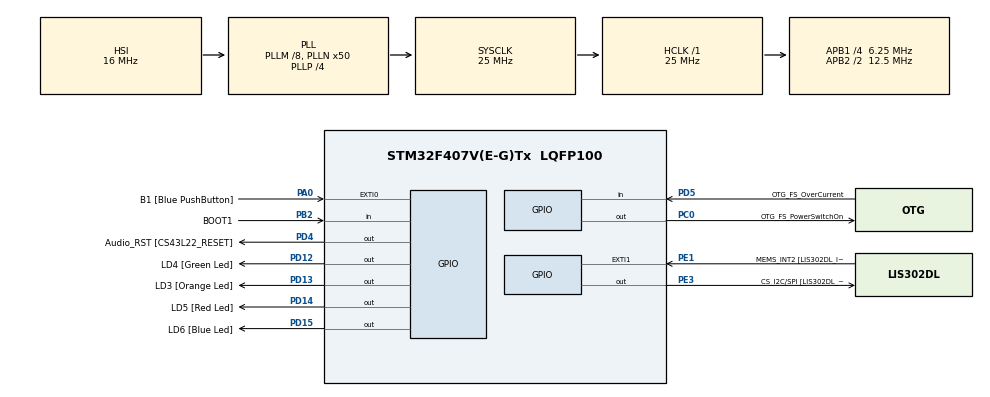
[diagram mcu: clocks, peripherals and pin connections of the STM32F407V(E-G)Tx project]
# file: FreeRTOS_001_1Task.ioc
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Mcu.Family=STM32F4
Mcu.Name=STM32F407V(E-G)Tx
Mcu.Package=LQFP100
NVIC.PriorityGroup=NVIC_PRIORITYGROUP_4
NVIC.TIM6_DAC_IRQn=true\:0\:0\:false\:false\:true\:false\:true\:true
NVIC.TimeBase=TIM6_DAC_IRQn
NVIC.TimeBaseIP=TIM6
PA0-WKUP.GPIO_Label=B1 [Blue PushButton]
PA0-WKUP.Signal=GPXTI0
PA10.GPIO_Label=OTG_FS_ID
PA10.GPIO_Mode=GPIO_MODE_AF_PP
PA10.GPIO_PuPd=GPIO_NOPULL
PA10.GPIO_Speed=GPIO_SPEED_FREQ_LOW
PA10.Signal=USB_OTG_FS_ID
PA11.GPIO_Label=OTG_FS_DM
PA11.GPIO_Mode=GPIO_MODE_AF_PP
PA11.GPIO_PuPd=GPIO_NOPULL
PA11.GPIO_Speed=GPIO_SPEED_FREQ_LOW
PA11.Signal=USB_OTG_FS_DM
PA12.GPIO_Label=OTG_FS_DP
PA12.GPIO_Mode=GPIO_MODE_AF_PP
PA12.GPIO_PuPd=GPIO_NOPULL
PA12.GPIO_Speed=GPIO_SPEED_FREQ_LOW
PA12.Signal=USB_OTG_FS_DP
PA13.GPIO_Label=SWDIO
PA13.Signal=SYS_JTMS-SWDIO
PA14.GPIO_Label=SWCLK
PA14.Signal=SYS_JTCK-SWCLK
PA4.GPIO_Label=I2S3_WS [CS43L22_LRCK]
PA4.GPIO_Mode=GPIO_MODE_AF_PP
PA4.GPIO_PuPd=GPIO_NOPULL
PA4.GPIO_Speed=GPIO_SPEED_FREQ_LOW
PA4.Signal=I2S3_WS
PA5.GPIO_Label=SPI1_SCK [LIS302DL_SCL/SPC]
PA5.GPIO_Mode=GPIO_MODE_AF_PP
PA5.GPIO_PuPd=GPIO_NOPULL
PA5.GPIO_Speed=GPIO_SPEED_FREQ_LOW
PA5.Signal=SPI1_SCK
PA6.GPIO_Label=SPI1_MISO [LIS302DL_SDO]
PA6.GPIO_Mode=GPIO_MODE_AF_PP
PA6.GPIO_PuPd=GPIO_NOPULL
PA6.GPIO_Speed=GPIO_SPEED_FREQ_LOW
PA6.Signal=SPI1_MISO
PA7.GPIO_Label=SPI1_MOSI [LIS302DL_SDA/SDI/SDO]
PA7.GPIO_Mode=GPIO_MODE_AF_PP
PA7.GPIO_PuPd=GPIO_NOPULL
PA7.GPIO_Speed=GPIO_SPEED_FREQ_LOW
PA7.Signal=SPI1_MOSI
PA9.GPIO_Label=VBUS_FS
PA9.GPIO_Mode=GPIO_MODE_INPUT
PA9.GPIO_PuPd=GPIO_NOPULL
PA9.Signal=USB_OTG_FS_VBUS
PB10.GPIO_Label=CLK_IN [MP45DT02_CLK]
PB10.GPIO_Mode=GPIO_MODE_AF_PP
PB10.GPIO_PuPd=GPIO_NOPULL
PB10.GPIO_Speed=GPIO_SPEED_FREQ_LOW
PB10.Signal=I2S2_CK
PB2.GPIO_Label=BOOT1
PB2.GPIO_Mode=GPIO_MODE_INPUT
PB2.GPIO_PuPd=GPIO_NOPULL
PB2.Signal=GPIO_Input
PB3.GPIO_Label=SWO
PB3.Signal=SYS_JTDO-SWO
PB6.GPIO_Label=Audio_SCL [CS43L22_SCL]
PB6.GPIO_Mode=GPIO_MODE_AF_OD
PB6.GPIO_PuPd=GPIO_NOPULL
PB6.GPIO_Speed=GPIO_SPEED_FREQ_LOW
PB6.Signal=I2C1_SCL
PB9.GPIO_Label=Audio_SDA [CS43L22_SDA]
PB9.GPIO_Mode=GPIO_MODE_AF_OD
PB9.GPIO_PuPd=GPIO_NOPULL
PB9.GPIO_Speed=GPIO_SPEED_FREQ_LOW
PB9.Signal=I2C1_SDA
PC0.GPIO_Label=OTG_FS_PowerSwitchOn
PC0.GPIO_PuPd=GPIO_NOPULL
PC0.GPIO_Speed=GPIO_SPEED_FREQ_LOW
PC0.PinState=GPIO_PIN_SET
PC0.Signal=GPIO_Output
PC10.GPIO_Label=I2S3_SCK [CS43L22_SCLK]
PC10.GPIO_Mode=GPIO_MODE_AF_PP
PC10.GPIO_PuPd=GPIO_NOPULL
PC10.GPIO_Speed=GPIO_SPEED_FREQ_LOW
PC10.Signal=I2S3_CK
PC12.GPIO_Label=I2S3_SD [CS43L22_SDIN]
PC12.GPIO_Mode=GPIO_MODE_AF_PP
PC12.GPIO_PuPd=GPIO_NOPULL
PC12.GPIO_Speed=GPIO_SPEED_FREQ_LOW
PC12.Signal=I2S3_SD
PC14-OSC32_IN.GPIO_Label=PC14-OSC32_IN
PC14-OSC32_IN.Signal=RCC_OSC32_IN
PC15-OSC32_OUT.GPIO_Label=PC15-OSC32_OUT
PC15-OSC32_OUT.Signal=RCC_OSC32_OUT
PC3.GPIO_Label=PDM_OUT [MP45DT02_DOUT]
PC3.GPIO_Mode=GPIO_MODE_AF_PP
PC3.GPIO_PuPd=GPIO_NOPULL
PC3.GPIO_Speed=GPIO_SPEED_FREQ_LOW
PC3.Signal=I2S2_SD
PC7.GPIO_Label=I2S3_MCK [CS43L22_MCLK]
PC7.GPIO_Mode=GPIO_MODE_AF_PP
PC7.GPIO_PuPd=GPIO_NOPULL
PC7.GPIO_Speed=GPIO_SPEED_FREQ_LOW
PC7.Signal=I2S3_MCK
PD12.GPIO_Label=LD4 [Green Led]
PD12.GPIO_PuPd=GPIO_NOPULL
PD12.GPIO_Speed=GPIO_SPEED_FREQ_LOW
PD12.Signal=GPIO_Output
PD13.GPIO_Label=LD3 [Orange Led]
PD13.GPIO_PuPd=GPIO_NOPULL
PD13.GPIO_Speed=GPIO_SPEED_FREQ_LOW
PD13.Signal=GPIO_Output
PD14.GPIO_Label=LD5 [Red Led]
PD14.GPIO_PuPd=GPIO_NOPULL
PD14.GPIO_Speed=GPIO_SPEED_FREQ_LOW
PD14.Signal=GPIO_Output
PD15.GPIO_Label=LD6 [Blue Led]
PD15.GPIO_PuPd=GPIO_NOPULL
PD15.GPIO_Speed=GPIO_SPEED_FREQ_LOW
PD15.Signal=GPIO_Output
PD4.GPIO_Label=Audio_RST [CS43L22_RESET]
PD4.GPIO_PuPd=GPIO_NOPULL
PD4.GPIO_Speed=GPIO_SPEED_FREQ_LOW
PD4.Signal=GPIO_Output
PD5.GPIO_Label=OTG_FS_OverCurrent
PD5.GPIO_Mode=GPIO_MODE_INPUT
PD5.GPIO_PuPd=GPIO_NOPULL
PD5.Signal=GPIO_Input
PE1.GPIO_Label=MEMS_INT2 [LIS302DL_INT2]
PE1.GPIO_ModeDefaultEXTI=GPIO_MODE_EVT_RISING
PE1.GPIO_PuPd=GPIO_NOPULL
PE1.Signal=GPXTI1
PE3.GPIO_Label=CS_I2C/SPI [LIS302DL_CS_I2C/SPI]
PE3.GPIO_PuPd=GPIO_NOPULL
PE3.GPIO_Speed=GPIO_SPEED_FREQ_LOW
PE3.Signal=GPIO_Output
PH0-OSC_IN.GPIO_Label=PH0-OSC_IN
PH0-OSC_IN.Signal=RCC_OSC_IN
PH1-OSC_OUT.GPIO_Label=PH1-OSC_OUT
PH1-OSC_OUT.Signal=RCC_OSC_OUT
ProjectManager.HeapSize=0x200
ProjectManager.StackSize=0x400
ProjectManager.TargetToolchain=STM32CubeIDE
RCC.48MHZClocksFreq_Value=14285714.285714285
RCC.AHBFreq_Value=25000000
RCC.APB1CLKDivider=RCC_HCLK_DIV4
RCC.APB1Freq_Value=6250000
RCC.APB1TimFreq_Value=12500000
RCC.APB2CLKDivider=RCC_HCLK_DIV2
RCC.APB2Freq_Value=12500000
RCC.APB2TimFreq_Value=25000000
RCC.CortexFreq_Value=25000000
RCC.HCLKFreq_Value=25000000
RCC.HSE_VALUE=8000000
RCC.HSI_VALUE=16000000
RCC.LSE_VALUE=32768
RCC.PLLM=8
RCC.PLLN=50
RCC.PLLP=RCC_PLLP_DIV4
RCC.PLLQ=7
RCC.SYSCLKFreq_VALUE=25000000
RCC.SYSCLKSource=RCC_SYSCLKSOURCE_PLLCLK
RCC.VCOOutputFreq_Value=100000000
VP_SYS_VS_tim6.Mode=TIM6
board=STM32F407G-DISC1

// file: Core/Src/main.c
/* USER CODE BEGIN Header */
/**
  ******************************************************************************
  * @file           : main.c
  * @brief          : Main program body
  ******************************************************************************
  * @attention
  *
  * Copyright (c) 2025 STMicroelectronics.
  * All rights reserved.
  *
  * This software is licensed under terms that can be found in the LICENSE file
  * in the root directory of this software component.
  * If no LICENSE file comes with this software, it is provided AS-IS.
  *
  ******************************************************************************
  */
/* USER CODE END Header */
#include "main.h"

/* USER CODE BEGIN Includes */
#include <stdio.h>
#include "FreeRTOS.h"
#include "task.h"
/* USER CODE END Includes */

/* USER CODE BEGIN PM */
#define DWT_CTRL	(*(volatile uint32_t*)0xE0001000)
/* USER CODE END PM */

void SystemClock_Config(void);
static void MX_GPIO_Init(void);
/* USER CODE BEGIN PFP */
static void task1_handler(void* parameters);
static void task2_handler(void* parameters);
/* USER CODE END PFP */

int main(void)
{

  /* USER CODE BEGIN 1 */
	TaskHandle_t task1_handle;
	TaskHandle_t task2_handle;

	BaseType_t taskCreateStatus;

  /* USER CODE END 1 */

  /* MCU Configuration--------------------------------------------------------*/

  /* Reset of all peripherals, Initializes the Flash interface and the Systick. */
  HAL_Init();

  /* Configure the system clock */
  SystemClock_Config();

  /* Initialize all configured peripherals */
  MX_GPIO_Init();
  /* USER CODE BEGIN 2 */

  //Enable the CYCCNT required by SysView
  DWT_CTRL |= (1<<0);

  //SysView configure and start
  SEGGER_SYSVIEW_Conf();
  SEGGER_SYSVIEW_Start();

  //Create tasks
  	taskCreateStatus = xTaskCreate(task1_handler, "Task-1", 200, "Hello world from task 1", 2, &task1_handle);
	configASSERT(taskCreateStatus == pdPASS);

	taskCreateStatus = xTaskCreate(task2_handler, "Task-2", 200, "Hello world from task 2", 2, &task2_handle);
	configASSERT(taskCreateStatus == pdPASS);

  //Schedule tasks
	vTaskStartScheduler();

  /* USER CODE END 2 */

  /* Infinite loop */
  while (1)
  {

  }
}

void SystemClock_Config(void)
{
  RCC_OscInitTypeDef RCC_OscInitStruct = {0};
  RCC_ClkInitTypeDef RCC_ClkInitStruct = {0};

  /** Configure the main internal regulator output voltage
  */
  __HAL_RCC_PWR_CLK_ENABLE();
  __HAL_PWR_VOLTAGESCALING_CONFIG(PWR_REGULATOR_VOLTAGE_SCALE1);

  /** Initializes the RCC Oscillators according to the specified parameters
  * in the RCC_OscInitTypeDef structure.
  */
  RCC_OscInitStruct.OscillatorType = RCC_OSCILLATORTYPE_HSI;
  RCC_OscInitStruct.HSIState = RCC_HSI_ON;
  RCC_OscInitStruct.HSICalibrationValue = RCC_HSICALIBRATION_DEFAULT;
  RCC_OscInitStruct.PLL.PLLState = RCC_PLL_ON;
  RCC_OscInitStruct.PLL.PLLSource = RCC_PLLSOURCE_HSI;
  RCC_OscInitStruct.PLL.PLLM = 8;
  RCC_OscInitStruct.PLL.PLLN = 50;
  RCC_OscInitStruct.PLL.PLLP = RCC_PLLP_DIV4;
  RCC_OscInitStruct.PLL.PLLQ = 7;
  if (HAL_RCC_OscConfig(&RCC_OscInitStruct) != HAL_OK)
  {
    Error_Handler();
  }

  /** Initializes the CPU, AHB and APB buses clocks
  */
  RCC_ClkInitStruct.ClockType = RCC_CLOCKTYPE_HCLK|RCC_CLOCKTYPE_SYSCLK
                              |RCC_CLOCKTYPE_PCLK1|RCC_CLOCKTYPE_PCLK2;
  RCC_ClkInitStruct.SYSCLKSource = RCC_SYSCLKSOURCE_PLLCLK;
  RCC_ClkInitStruct.AHBCLKDivider = RCC_SYSCLK_DIV1;
  RCC_ClkInitStruct.APB1CLKDivider = RCC_HCLK_DIV4;
  RCC_ClkInitStruct.APB2CLKDivider = RCC_HCLK_DIV2;

  if (HAL_RCC_ClockConfig(&RCC_ClkInitStruct, FLASH_LATENCY_0) != HAL_OK)
  {
    Error_Handler();
  }
}

static void MX_GPIO_Init(void)
{
  GPIO_InitTypeDef GPIO_InitStruct = {0};

  /* GPIO Ports Clock Enable */
  __HAL_RCC_GPIOE_CLK_ENABLE();
  __HAL_RCC_GPIOC_CLK_ENABLE();
  __HAL_RCC_GPIOH_CLK_ENABLE();
  __HAL_RCC_GPIOA_CLK_ENABLE();
  __HAL_RCC_GPIOB_CLK_ENABLE();
  __HAL_RCC_GPIOD_CLK_ENABLE();

  /*Configure GPIO pin Output Level */
  HAL_GPIO_WritePin(CS_I2C_SPI_GPIO_Port, CS_I2C_SPI_Pin, GPIO_PIN_RESET);

  /*Configure GPIO pin Output Level */
  HAL_GPIO_WritePin(OTG_FS_PowerSwitchOn_GPIO_Port, OTG_FS_PowerSwitchOn_Pin, GPIO_PIN_SET);

  /*Configure GPIO pin Output Level */
  HAL_GPIO_WritePin(GPIOD, LD4_Pin|LD3_Pin|LD5_Pin|LD6_Pin
                          |Audio_RST_Pin, GPIO_PIN_RESET);

  /*Configure GPIO pin : CS_I2C_SPI_Pin */
  GPIO_InitStruct.Pin = CS_I2C_SPI_Pin;
  GPIO_InitStruct.Mode = GPIO_MODE_OUTPUT_PP;
  GPIO_InitStruct.Pull = GPIO_NOPULL;
  GPIO_InitStruct.Speed = GPIO_SPEED_FREQ_LOW;
  HAL_GPIO_Init(CS_I2C_SPI_GPIO_Port, &GPIO_InitStruct);

  /*Configure GPIO pin : OTG_FS_PowerSwitchOn_Pin */
  GPIO_InitStruct.Pin = OTG_FS_PowerSwitchOn_Pin;
  GPIO_InitStruct.Mode = GPIO_MODE_OUTPUT_PP;
  GPIO_InitStruct.Pull = GPIO_NOPULL;
  GPIO_InitStruct.Speed = GPIO_SPEED_FREQ_LOW;
  HAL_GPIO_Init(OTG_FS_PowerSwitchOn_GPIO_Port, &GPIO_InitStruct);

  /*Configure GPIO pin : PDM_OUT_Pin */
  GPIO_InitStruct.Pin = PDM_OUT_Pin;
  GPIO_InitStruct.Mode = GPIO_MODE_AF_PP;
  GPIO_InitStruct.Pull = GPIO_NOPULL;
  GPIO_InitStruct.Speed = GPIO_SPEED_FREQ_LOW;
  GPIO_InitStruct.Alternate = GPIO_AF5_SPI2;
  HAL_GPIO_Init(PDM_OUT_GPIO_Port, &GPIO_InitStruct);

  /*Configure GPIO pin : B1_Pin */
  GPIO_InitStruct.Pin = B1_Pin;
  GPIO_InitStruct.Mode = GPIO_MODE_IT_RISING;
  GPIO_InitStruct.Pull = GPIO_NOPULL;
  HAL_GPIO_Init(B1_GPIO_Port, &GPIO_InitStruct);

  /*Configure GPIO pin : I2S3_WS_Pin */
  GPIO_InitStruct.Pin = I2S3_WS_Pin;
  GPIO_InitStruct.Mode = GPIO_MODE_AF_PP;
  GPIO_InitStruct.Pull = GPIO_NOPULL;
  GPIO_InitStruct.Speed = GPIO_SPEED_FREQ_LOW;
  GPIO_InitStruct.Alternate = GPIO_AF6_SPI3;
  HAL_GPIO_Init(I2S3_WS_GPIO_Port, &GPIO_InitStruct);

  /*Configure GPIO pins : SPI1_SCK_Pin SPI1_MISO_Pin SPI1_MOSI_Pin */
  GPIO_InitStruct.Pin = SPI1_SCK_Pin|SPI1_MISO_Pin|SPI1_MOSI_Pin;
  GPIO_InitStruct.Mode = GPIO_MODE_AF_PP;
  GPIO_InitStruct.Pull = GPIO_NOPULL;
  GPIO_InitStruct.Speed = GPIO_SPEED_FREQ_LOW;
  GPIO_InitStruct.Alternate = GPIO_AF5_SPI1;
  HAL_GPIO_Init(GPIOA, &GPIO_InitStruct);

  /*Configure GPIO pin : BOOT1_Pin */
  GPIO_InitStruct.Pin = BOOT1_Pin;
  GPIO_InitStruct.Mode = GPIO_MODE_INPUT;
  GPIO_InitStruct.Pull = GPIO_NOPULL;
  HAL_GPIO_Init(BOOT1_GPIO_Port, &GPIO_InitStruct);

  /*Configure GPIO pin : CLK_IN_Pin */
  GPIO_InitStruct.Pin = CLK_IN_Pin;
  GPIO_InitStruct.Mode = GPIO_MODE_AF_PP;
  GPIO_InitStruct.Pull = GPIO_NOPULL;
  GPIO_InitStruct.Speed = GPIO_SPEED_FREQ_LOW;
  GPIO_InitStruct.Alternate = GPIO_AF5_SPI2;
  HAL_GPIO_Init(CLK_IN_GPIO_Port, &GPIO_InitStruct);

  /*Configure GPIO pins : LD4_Pin LD3_Pin LD5_Pin LD6_Pin
                           Audio_RST_Pin */
  GPIO_InitStruct.Pin = LD4_Pin|LD3_Pin|LD5_Pin|LD6_Pin
                          |Audio_RST_Pin;
  GPIO_InitStruct.Mode = GPIO_MODE_OUTPUT_PP;
  GPIO_InitStruct.Pull = GPIO_NOPULL;
  GPIO_InitStruct.Speed = GPIO_SPEED_FREQ_LOW;
  HAL_GPIO_Init(GPIOD, &GPIO_InitStruct);

  /*Configure GPIO pins : I2S3_MCK_Pin I2S3_SCK_Pin I2S3_SD_Pin */
  GPIO_InitStruct.Pin = I2S3_MCK_Pin|I2S3_SCK_Pin|I2S3_SD_Pin;
  GPIO_InitStruct.Mode = GPIO_MODE_AF_PP;
  GPIO_InitStruct.Pull = GPIO_NOPULL;
  GPIO_InitStruct.Speed = GPIO_SPEED_FREQ_LOW;
  GPIO_InitStruct.Alternate = GPIO_AF6_SPI3;
  HAL_GPIO_Init(GPIOC, &GPIO_InitStruct);

  /*Configure GPIO pin : VBUS_FS_Pin */
  GPIO_InitStruct.Pin = VBUS_FS_Pin;
  GPIO_InitStruct.Mode = GPIO_MODE_INPUT;
  GPIO_InitStruct.Pull = GPIO_NOPULL;
  HAL_GPIO_Init(VBUS_FS_GPIO_Port, &GPIO_InitStruct);

  /*Configure GPIO pins : OTG_FS_ID_Pin OTG_FS_DM_Pin OTG_FS_DP_Pin */
  GPIO_InitStruct.Pin = OTG_FS_ID_Pin|OTG_FS_DM_Pin|OTG_FS_DP_Pin;
  GPIO_InitStruct.Mode = GPIO_MODE_AF_PP;
  GPIO_InitStruct.Pull = GPIO_NOPULL;
  GPIO_InitStruct.Speed = GPIO_SPEED_FREQ_LOW;
  GPIO_InitStruct.Alternate = GPIO_AF10_OTG_FS;
  HAL_GPIO_Init(GPIOA, &GPIO_InitStruct);

  /*Configure GPIO pin : OTG_FS_OverCurrent_Pin */
  GPIO_InitStruct.Pin = OTG_FS_OverCurrent_Pin;
  GPIO_InitStruct.Mode = GPIO_MODE_INPUT;
  GPIO_InitStruct.Pull = GPIO_NOPULL;
  HAL_GPIO_Init(OTG_FS_OverCurrent_GPIO_Port, &GPIO_InitStruct);

  /*Configure GPIO pins : Audio_SCL_Pin Audio_SDA_Pin */
  GPIO_InitStruct.Pin = Audio_SCL_Pin|Audio_SDA_Pin;
  GPIO_InitStruct.Mode = GPIO_MODE_AF_OD;
  GPIO_InitStruct.Pull = GPIO_NOPULL;
  GPIO_InitStruct.Speed = GPIO_SPEED_FREQ_LOW;
  GPIO_InitStruct.Alternate = GPIO_AF4_I2C1;
  HAL_GPIO_Init(GPIOB, &GPIO_InitStruct);

  /*Configure GPIO pin : MEMS_INT2_Pin */
  GPIO_InitStruct.Pin = MEMS_INT2_Pin;
  GPIO_InitStruct.Mode = GPIO_MODE_EVT_RISING;
  GPIO_InitStruct.Pull = GPIO_NOPULL;
  HAL_GPIO_Init(MEMS_INT2_GPIO_Port, &GPIO_InitStruct);

}

/* USER CODE BEGIN 4 */
static void task1_handler(void* parameters)
{
	while(1)
	{
		printf("%s\n",(char*)parameters);
		//taskYIELD();
	}
}
static void task2_handler(void* parameters)
{
	while(1)
	{
		printf("%s\n",(char*)parameters);
		//taskYIELD();
	}
}
/* USER CODE END 4 */

void HAL_TIM_PeriodElapsedCallback(TIM_HandleTypeDef *htim)
{
  if (htim->Instance == TIM6)
  {
    HAL_IncTick();
  }
}

void Error_Handler(void)
{
  __disable_irq();
  while (1)
  {
  }
}
